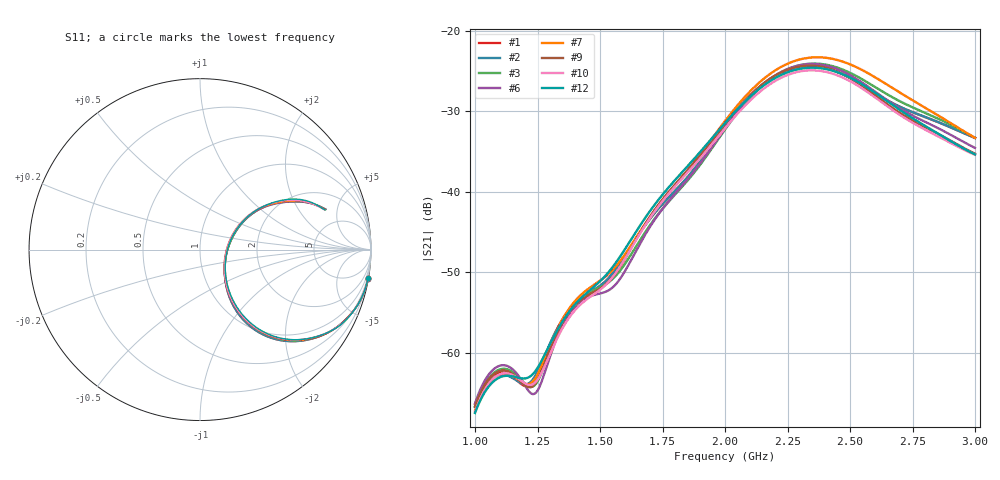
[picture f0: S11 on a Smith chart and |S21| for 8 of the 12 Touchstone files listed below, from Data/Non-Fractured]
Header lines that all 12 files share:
! TOUCHSTONE file generated by CST MICROWAVE STUDIO
! Project name: non_fractured.cst
! Header version: 2024
! Port assignment regex: !\s*Touchstone port\s*([0-9]+)\s*=\s*(CST MWS port|CST DES external port|CST DES block port)\s*(.+)\s* \(\"(.*)\"\)(\s*mode\s*([0-9]+))?.*
! Touchstone port assignment:
! Touchstone port 1 = CST MWS port 1 ("")
! Touchstone port 2 = CST MWS port 2 ("")
# GHz S DB R 50
Fixed: B = 2.5, D = 160, Feed = 2.85625, L = 100, M = 5, R = 0.384908, length = 57.125, wave = 114.25
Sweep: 1 GHz to 3 GHz
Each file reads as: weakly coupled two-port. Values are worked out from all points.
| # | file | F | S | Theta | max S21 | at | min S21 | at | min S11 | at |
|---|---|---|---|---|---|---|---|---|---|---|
| 1 | non_fractured_1.s2p | 5 | 1 | 0 | -24.40 dB | 2.336 GHz | -66.3 dB | 1 GHz | -16.1 dB | 2.355 GHz |
| 2 | non_fractured_2.s2p | 5 | 1 | 90 | -24.39 dB | 2.338 GHz | -66.6 dB | 1 GHz | -16.1 dB | 2.351 GHz |
| 3 | non_fractured_5.s2p | 5 | 1.5 | 0 | -24.09 dB | 2.353 GHz | -66.7 dB | 1 GHz | -16.0 dB | 2.373 GHz |
| 4 | non_fractured_9.s2p | 5 | 2 | 0 | -23.98 dB | 2.353 GHz | -66.5 dB | 1 GHz | -16.2 dB | 2.373 GHz |
| 5 | non_fractured_11.s2p | 5 | 2 | 180 | -23.98 dB | 2.353 GHz | -66.5 dB | 1 GHz | -16.2 dB | 2.373 GHz |
| 6 | non_fractured_13.s2p | 5 | 2.5 | 0 | -24.14 dB | 2.347 GHz | -66.3 dB | 1 GHz | -16.3 dB | 2.373 GHz |
| 7 | non_fractured_17.s2p | 10 | 1 | 0 | -23.30 dB | 2.368 GHz | -67.1 dB | 1 GHz | -16.1 dB | 2.375 GHz |
| 8 | non_fractured_21.s2p | 10 | 1.5 | 0 | -23.60 dB | 2.353 GHz | -66.5 dB | 1 GHz | -16.4 dB | 2.373 GHz |
| 9 | non_fractured_25.s2p | 10 | 2 | 0 | -24.35 dB | 2.338 GHz | -66.7 dB | 1 GHz | -16.4 dB | 2.371 GHz |
| 10 | non_fractured_29.s2p | 10 | 2.5 | 0 | -24.93 dB | 2.344 GHz | -67.3 dB | 1 GHz | -16.3 dB | 2.377 GHz |
| 11 | non_fractured_33.s2p | 15 | 1 | 0 | -22.95 dB | 2.353 GHz | -66.0 dB | 1 GHz | -16.2 dB | 2.38 GHz |
| 12 | non_fractured_37.s2p | 15 | 1.5 | 0 | -24.60 dB | 2.347 GHz | -67.4 dB | 1 GHz | -16.1 dB | 2.38 GHz |
